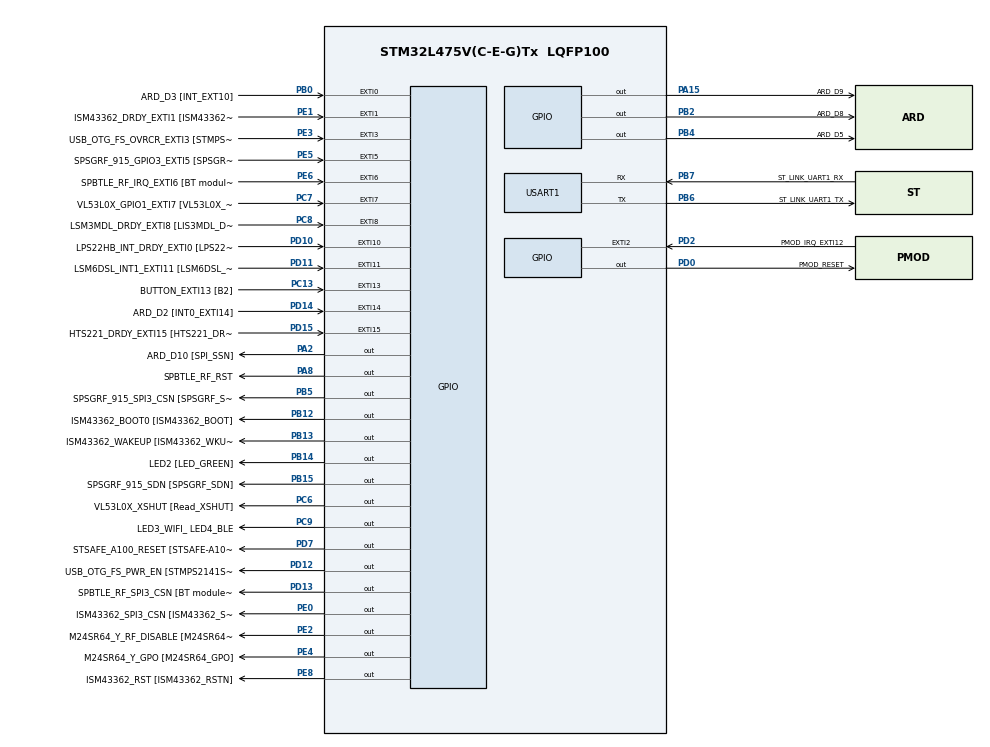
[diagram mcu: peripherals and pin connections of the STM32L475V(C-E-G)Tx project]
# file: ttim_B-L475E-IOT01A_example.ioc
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Mcu.Family=STM32L4
Mcu.Name=STM32L475V(C-E-G)Tx
Mcu.Package=LQFP100
NVIC.EXTI15_10_IRQn=true\:0\:0\:false\:false\:true\:true\:true\:true
NVIC.EXTI9_5_IRQn=true\:0\:0\:false\:false\:true\:true\:true\:true
NVIC.LPTIM1_IRQn=true\:0\:0\:false\:false\:true\:true\:true\:true
NVIC.PriorityGroup=NVIC_PRIORITYGROUP_4
NVIC.USART1_IRQn=true\:0\:0\:false\:false\:true\:true\:true\:true
PA0.GPIO_Label=ARD_D1 [UART4_TX]
PA0.Signal=UART4_TX
PA1.GPIO_Label=ARD_D0 [UART4_RX]
PA1.Signal=UART4_RX
PA10.GPIO_Label=USB_OTG_FS_ID
PA10.Signal=USB_OTG_FS_ID
PA11.GPIO_Label=USB_OTG_FS_DM
PA11.Signal=USB_OTG_FS_DM
PA12.GPIO_Label=USB_OTG_FS_DP
PA12.Signal=USB_OTG_FS_DP
PA13\ (JTMS-SWDIO).GPIO_Label=SYS_JTMS_SWDIO
PA13\ (JTMS-SWDIO).Mode=Serial_Wire
PA13\ (JTMS-SWDIO).Signal=SYS_JTMS-SWDIO
PA14\ (JTCK-SWCLK).GPIO_Label=SYS_JTCK_SWCLK
PA14\ (JTCK-SWCLK).Mode=Serial_Wire
PA14\ (JTCK-SWCLK).Signal=SYS_JTCK-SWCLK
PA15\ (JTDI).GPIO_Label=ARD_D9
PA15\ (JTDI).Signal=GPIO_Output
PA2.GPIO_Label=ARD_D10 [SPI_SSN]
PA2.Signal=GPIO_Output
PA4.GPIO_Label=ARD_D7
PA4.Signal=ADCx_IN9
PA5.GPIO_Label=ARD_D13 [SPI1_SCK]
PA5.Signal=SPI1_SCK
PA6.GPIO_Label=ARD_D12 [SPI1_MISO]
PA6.Signal=SPI1_MISO
PA7.GPIO_Label=ARD_D11 [SPI1_MOSI]
PA7.Signal=SPI1_MOSI
PA8.GPIO_Label=SPBTLE_RF_RST
PA8.Signal=GPIO_Output
PA9.GPIO_Label=USB_OTG_FS_VBUS [STMPS2141STR_OUT]
PA9.Signal=USB_OTG_FS_VBUS
PB0.GPIO_Label=ARD_D3 [INT_EXT10]
PB0.Signal=GPXTI0
PB1.GPIO_Label=ARD_D6 [ADC1_IN6]
PB1.Signal=ADCx_IN16
PB10.GPIO_Label=INTERNAL_I2C2_SCL [VL53L0X_SCL]
PB10.GPIO_Pu=GPIO_PULLUP
PB10.Signal=I2C2_SCL
PB11.GPIO_Label=INTERNAL_I2C2_SDA [VL53L0X_SDA]
PB11.GPIO_Pu=GPIO_PULLUP
PB11.Signal=I2C2_SDA
PB12.GPIO_Label=ISM43362_BOOT0 [ISM43362_BOOT]
PB12.Signal=GPIO_Output
PB13.GPIO_Label=ISM43362_WAKEUP [ISM43362_WKUP]
PB13.Signal=GPIO_Output
PB14.GPIO_Label=LED2 [LED_GREEN]
PB14.Signal=GPIO_Output
PB15.GPIO_Label=SPSGRF_915_SDN [SPSGRF_SDN]
PB15.Signal=GPIO_Output
PB2.GPIO_Label=ARD_D8
PB2.Signal=GPIO_Output
PB3\ (JTDO-TRACESWO).GPIO_Label=SYS_JTD0_SWO
PB3\ (JTDO-TRACESWO).Signal=SYS_JTDO-SWO
PB4\ (NJTRST).GPIO_Label=ARD_D5
PB4\ (NJTRST).Signal=GPIO_Output
PB5.GPIO_Label=SPSGRF_915_SPI3_CSN [SPSGRF_SPI_CS]
PB5.PinState=GPIO_PIN_SET
PB5.Signal=GPIO_Output
PB6.GPIO_Label=ST_LINK_UART1_TX
PB6.Mode=Asynchronous
PB6.Signal=USART1_TX
PB7.GPIO_Label=ST_LINK_UART1_RX
PB7.Mode=Asynchronous
PB7.Signal=USART1_RX
PB8.GPIO_Label=ARD_D15 [I2C1_SCL]
PB8.Signal=I2C1_SCL
PB9.GPIO_Label=ARD_D14 [I2C1_SDA]
PB9.Signal=I2C1_SDA
PC0.GPIO_Label=ARD_A5 [ADC]
PC0.Signal=ADCx_IN1
PC1.GPIO_Label=ARD_A4 [ADC]
PC1.Signal=ADCx_IN2
PC10.GPIO_Label=INTERNAL_SPI3_SCK [BT module_SPI_SCLK] [ISM43362_SCK]
PC10.Signal=SPI3_SCK
PC11.GPIO_Label=INTERNAL_SPI3_MISO [BT module_SPI_MISO] [ISM43362_MISO]
PC11.Signal=SPI3_MISO
PC12.GPIO_Label=INTERNAL_SPI3_MOSI [BT module_SPI_MOSI] [ISM43362_MOSI]
PC12.Signal=SPI3_MOSI
PC13.GPIO_Label=BUTTON_EXTI13 [B2]
PC13.GPIO_ModeDefaultEXTI=GPIO_MODE_IT_FALLING
PC13.Signal=GPXTI13
PC14-OSC32_IN\ (PC14).Mode=LSE-External-Oscillator
PC14-OSC32_IN\ (PC14).Signal=RCC_OSC32_IN
PC15-OSC32_OUT\ (PC15).Mode=LSE-External-Oscillator
PC15-OSC32_OUT\ (PC15).Signal=RCC_OSC32_OUT
PC2.GPIO_Label=ARD_A3 [ADC]
PC2.Signal=ADCx_IN3
PC3.GPIO_Label=ARD_A2 [ADC]
PC3.Signal=ADCx_IN4
PC4.GPIO_Label=ARD_A1 [ADC]
PC4.Signal=ADCx_IN13
PC5.GPIO_Label=ARD_A0 [ADC]
PC5.Signal=ADCx_IN14
PC6.GPIO_Label=VL53L0X_XSHUT [Read_XSHUT]
PC6.Signal=GPIO_Output
PC7.GPIO_Label=VL53L0X_GPIO1_EXTI7 [VL53L0X_GPIO1]
PC7.Signal=GPXTI7
PC8.GPIO_Label=LSM3MDL_DRDY_EXTI8 [LIS3MDL_DRDY]
PC8.Signal=GPXTI8
PC9.GPIO_Label=LED3_WIFI_ LED4_BLE
PC9.Signal=GPIO_Output
PD0.GPIO_Label=PMOD_RESET
PD0.Signal=GPIO_Output
PD1.GPIO_Label=PMOD_SPI2_SCK
PD1.Signal=SPI2_SCK
PD10.GPIO_Label=LPS22HB_INT_DRDY_EXTI0 [LPS22HB_INT_DRDY] 
PD10.Signal=GPXTI10
PD11.GPIO_Label=LSM6DSL_INT1_EXTI11 [LSM6DSL_INT1]
PD11.Signal=GPXTI11
PD12.GPIO_Label=USB_OTG_FS_PWR_EN [STMPS2141STR_EN]
PD12.Signal=GPIO_Output
PD13.GPIO_Label=SPBTLE_RF_SPI3_CSN [BT module_SPI_CS]
PD13.PinState=GPIO_PIN_SET
PD13.Signal=GPIO_Output
PD14.GPIO_Label=ARD_D2 [INT0_EXTI14]
PD14.Signal=GPXTI14
PD15.GPIO_Label=HTS221_DRDY_EXTI15 [HTS221_DRDY]
PD15.Signal=GPXTI15
PD2.GPIO_Label=PMOD_IRQ_EXTI12
PD2.Signal=GPXTI2
PD3.GPIO_Label=PMOD_UART2_CTS
PD3.Signal=USART2_CTS
PD4.GPIO_Label=PMOD_UART2_RTS
PD4.Signal=USART2_RTS
PD5.GPIO_Label=PMOD_UART2_TX
PD5.Signal=USART2_TX
PD6.GPIO_Label=PMOD_UART2_RX
PD6.Signal=USART2_RX
PD7.GPIO_Label=STSAFE_A100_RESET [STSAFE-A100_RESET]
PD7.Signal=GPIO_Output
PD8.GPIO_Label=INTERNAL_UART3_TX [ISM43362_RX]
PD8.Signal=USART3_TX
PD9.GPIO_Label=INTERNAL_UART3_RX [ISM43362_TX]
PD9.Signal=USART3_RX
PE0.GPIO_Label=ISM43362_SPI3_CSN [ISM43362_SSN]
PE0.PinState=GPIO_PIN_SET
PE0.Signal=GPIO_Output
PE1.GPIO_Label=ISM43362_DRDY_EXTI1 [ISM43362_DATARDY]
PE1.Signal=GPXTI1
PE10.GPIO_Label=QUADSPI_CLK [MX25R6435F_SCLK]
PE10.Signal=QUADSPI_CLK
PE11.GPIO_Label=QUADSPI_NCS [MX25R6435F_SCLK]
PE11.Signal=QUADSPI_NCS
PE12.GPIO_Label=OQUADSPI_BK1_IO0 [MX25R6435F_IO0]
PE12.Signal=QUADSPI_BK1_IO0
PE13.GPIO_Label=QUADSPI_BK1_IO1 [MX25R6435F_IO1]
PE13.Signal=QUADSPI_BK1_IO1
PE14.GPIO_Label=QUAD_SPI_BK1_IO2 [MX25R6435F_IO2]
PE14.Signal=QUADSPI_BK1_IO2
PE15.GPIO_Label=QUAD_SPI_BK1_IO3 [MX25R6435F_IO3]
PE15.Signal=QUADSPI_BK1_IO3
PE2.GPIO_Label=M24SR64_Y_RF_DISABLE [M24SR64_RFDIS]
PE2.Signal=GPIO_Output
PE3.GPIO_Label=USB_OTG_FS_OVRCR_EXTI3 [STMPS2141STR_FAULT]
PE3.Signal=GPXTI3
PE4.GPIO_Label=M24SR64_Y_GPO [M24SR64_GPO]
PE4.Signal=GPIO_Output
PE5.GPIO_Label=SPSGRF_915_GPIO3_EXTI5 [SPSGRF_GPIO_3]
PE5.Signal=GPXTI5
PE6.GPIO_Label=SPBTLE_RF_IRQ_EXTI6 [BT module_SPI_IRQ]
PE6.Signal=GPXTI6
PE7.GPIO_Label=DFSDM1_DATIN2 [MP34DT01_DOUT]
PE7.Signal=S_DATAIN2DFSDM1
PE8.GPIO_Label=ISM43362_RST [ISM43362_RSTN]
PE8.Signal=GPIO_Output
PE9.GPIO_Label=DFSDM1_CKOUT [MP34DT01_CLK]
PE9.Signal=S_CKOUTDFSDM1
ProjectManager.HeapSize=0x200
ProjectManager.StackSize=0x400
ProjectManager.TargetToolchain=STM32CubeIDE
RCC.ADCFreq_Value=48000000
RCC.AHBFreq_Value=80000000
RCC.APB1Freq_Value=80000000
RCC.APB1TimFreq_Value=80000000
RCC.APB2Freq_Value=80000000
RCC.APB2TimFreq_Value=80000000
RCC.CortexFreq_Value=80000000
RCC.FLatency-AdvancedSettings=FLASH_LATENCY_0
RCC.HCLKFreq_Value=80000000
RCC.HSE_VALUE=8000000
RCC.HSI_VALUE=16000000
RCC.LPTIM1CLockSelection=RCC_LPTIM1CLKSOURCE_LSE
RCC.MSIAutoCalibration=ENABLED
RCC.MSICalibrationValue=0
RCC.MSI_VALUE=4000000
RCC.PLLN=40
RCC.PLLSAI1N=24
RCC.SYSCLKFreq_VALUE=80000000
RCC.SYSCLKSource=RCC_SYSCLKSOURCE_PLLCLK
RCC.USBFreq_Value=48000000
RCC.VCOOutputFreq_Value=160000000
SH.ADCx_IN1.0=ADC1_IN1
SH.ADCx_IN13.0=ADC1_IN13
SH.ADCx_IN14.0=ADC1_IN14
SH.ADCx_IN16.0=ADC1_IN16
SH.ADCx_IN2.0=ADC1_IN2
SH.ADCx_IN3.0=ADC1_IN3
SH.ADCx_IN4.0=ADC1_IN4
SH.ADCx_IN9.0=ADC1_IN9
SH.S_CKOUTDFSDM1.0=DFSDM1_CKOUT
SH.S_DATAIN2DFSDM1.0=DFSDM1_DATIN2
USART1.VirtualMode-Asynchronous=VM_ASYNC
VP_LPTIM1_VS_LPTIM_counterModeInternalClock.Mode=Counts__internal_clock_event_00
board=B-L475E-IOT01A1

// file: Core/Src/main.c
/* USER CODE BEGIN Header */
/**
 ******************************************************************************
 * @file           : main.c
 * @brief          : Main program body
 ******************************************************************************
 * @attention
 *
 * Copyright (c) 2022 STMicroelectronics.
 * All rights reserved.
 *
 * This software is licensed under terms that can be found in the LICENSE file
 * in the root directory of this software component.
 * If no LICENSE file comes with this software, it is provided AS-IS.
 *
 ******************************************************************************
 */
/* USER CODE END Header */
#include "main.h"

/* USER CODE BEGIN Includes */
#include "bsp.h"
#include "ttim.h"

/* USER CODE END Includes */

LPTIM_HandleTypeDef hlptim1;

UART_HandleTypeDef huart1;

void SystemClock_Config( void );
static void MX_GPIO_Init( void );
static void MX_USART1_UART_Init( void );
static void MX_LPTIM1_Init( void );

/* USER CODE BEGIN 0 */

/**
   @brief Common callback function for all the timers.

   @param hnd
   @param param
 */
void cb_common( TTIM_HND_T hnd, void *param )
{
    /* note that the time in ms is taken from the systick source that is out of synch
    With the 32768 hz cristal clock source, so the time logging will drift. */
    log_debug( "%05u %s\n", HAL_GetTick(), param );
}

void cb_with_start( TTIM_HND_T hnd, void *param )
{
    cb_common( hnd, param );

    /* restarts the timer */
    ttim_start( hnd );
}

/* USER CODE END 0 */

int main( void )
{

    /* MCU Configuration--------------------------------------------------------*/

    /* Reset of all peripherals, Initializes the Flash interface and the Systick. */
    HAL_Init();

    /* Configure the system clock */
    SystemClock_Config();

    /* Initialize all configured peripherals */
    MX_GPIO_Init();
    MX_USART1_UART_Init();
    MX_LPTIM1_Init();
    /* USER CODE BEGIN 2 */
    /* initializes the ttim library */
    ttim_init();

    /* time in miliseconds */
    ttim_set( 0, 1000, cb_common, "tim 0" );
    ttim_set( 1, 2000, cb_common, "tim 1" );
    ttim_set( 2, 5000, cb_with_start, "tim 2" );
    ttim_set( 3, 10000, cb_with_start, "tim 3" );

    ttim_set_periodic( 0 );
    ttim_set_periodic( 1 );

    ttim_start( 0 );
    ttim_start( 1 );
    ttim_start( 2 );
    ttim_start( 3 );
    log_debug( "start 3\n" );
    /* USER CODE END 2 */

    /* Infinite loop */
    while ( 1 )
    {

    }
}

void SystemClock_Config( void )
{
    RCC_OscInitTypeDef RCC_OscInitStruct = {0};
    RCC_ClkInitTypeDef RCC_ClkInitStruct = {0};

    /** Configure the main internal regulator output voltage
    */
    if ( HAL_PWREx_ControlVoltageScaling( PWR_REGULATOR_VOLTAGE_SCALE1 ) != HAL_OK )
    {
        Error_Handler();
    }

    /** Configure LSE Drive Capability
    */
    HAL_PWR_EnableBkUpAccess();
    __HAL_RCC_LSEDRIVE_CONFIG( RCC_LSEDRIVE_LOW );

    /** Initializes the RCC Oscillators according to the specified parameters
    * in the RCC_OscInitTypeDef structure.
    */
    RCC_OscInitStruct.OscillatorType = RCC_OSCILLATORTYPE_LSE|RCC_OSCILLATORTYPE_MSI;
    RCC_OscInitStruct.LSEState = RCC_LSE_ON;
    RCC_OscInitStruct.MSIState = RCC_MSI_ON;
    RCC_OscInitStruct.MSICalibrationValue = 0;
    RCC_OscInitStruct.MSIClockRange = RCC_MSIRANGE_6;
    RCC_OscInitStruct.PLL.PLLState = RCC_PLL_ON;
    RCC_OscInitStruct.PLL.PLLSource = RCC_PLLSOURCE_MSI;
    RCC_OscInitStruct.PLL.PLLM = 1;
    RCC_OscInitStruct.PLL.PLLN = 40;
    RCC_OscInitStruct.PLL.PLLP = RCC_PLLP_DIV7;
    RCC_OscInitStruct.PLL.PLLQ = RCC_PLLQ_DIV2;
    RCC_OscInitStruct.PLL.PLLR = RCC_PLLR_DIV2;
    if ( HAL_RCC_OscConfig( &RCC_OscInitStruct ) != HAL_OK )
    {
        Error_Handler();
    }

    /** Initializes the CPU, AHB and APB buses clocks
    */
    RCC_ClkInitStruct.ClockType = RCC_CLOCKTYPE_HCLK|RCC_CLOCKTYPE_SYSCLK
                                  |RCC_CLOCKTYPE_PCLK1|RCC_CLOCKTYPE_PCLK2;
    RCC_ClkInitStruct.SYSCLKSource = RCC_SYSCLKSOURCE_PLLCLK;
    RCC_ClkInitStruct.AHBCLKDivider = RCC_SYSCLK_DIV1;
    RCC_ClkInitStruct.APB1CLKDivider = RCC_HCLK_DIV1;
    RCC_ClkInitStruct.APB2CLKDivider = RCC_HCLK_DIV1;

    if ( HAL_RCC_ClockConfig( &RCC_ClkInitStruct, FLASH_LATENCY_4 ) != HAL_OK )
    {
        Error_Handler();
    }

    /** Enable MSI Auto calibration
    */
    HAL_RCCEx_EnableMSIPLLMode();
}

static void MX_LPTIM1_Init( void )
{

    hlptim1.Instance = LPTIM1;
    hlptim1.Init.Clock.Source = LPTIM_CLOCKSOURCE_APBCLOCK_LPOSC;
    hlptim1.Init.Clock.Prescaler = LPTIM_FIXED_PRESCALER;
    hlptim1.Init.Trigger.Source = LPTIM_TRIGSOURCE_SOFTWARE;
    hlptim1.Init.OutputPolarity = LPTIM_OUTPUTPOLARITY_HIGH;
    hlptim1.Init.UpdateMode = LPTIM_UPDATE_IMMEDIATE;
    hlptim1.Init.CounterSource = LPTIM_COUNTERSOURCE_INTERNAL;
    hlptim1.Init.Input1Source = LPTIM_INPUT1SOURCE_GPIO;
    hlptim1.Init.Input2Source = LPTIM_INPUT2SOURCE_GPIO;
    if ( HAL_LPTIM_Init( &hlptim1 ) != HAL_OK )
    {
        Error_Handler();
    }

}

static void MX_USART1_UART_Init( void )
{

    huart1.Instance = USART1;
    huart1.Init.BaudRate = 115200;
    huart1.Init.WordLength = UART_WORDLENGTH_8B;
    huart1.Init.StopBits = UART_STOPBITS_1;
    huart1.Init.Parity = UART_PARITY_NONE;
    huart1.Init.Mode = UART_MODE_TX_RX;
    huart1.Init.HwFlowCtl = UART_HWCONTROL_NONE;
    huart1.Init.OverSampling = UART_OVERSAMPLING_16;
    huart1.Init.OneBitSampling = UART_ONE_BIT_SAMPLE_DISABLE;
    huart1.AdvancedInit.AdvFeatureInit = UART_ADVFEATURE_NO_INIT;
    if ( HAL_UART_Init( &huart1 ) != HAL_OK )
    {
        Error_Handler();
    }

}

static void MX_GPIO_Init( void )
{
    GPIO_InitTypeDef GPIO_InitStruct = {0};

    /* GPIO Ports Clock Enable */
    __HAL_RCC_GPIOE_CLK_ENABLE();
    __HAL_RCC_GPIOC_CLK_ENABLE();
    __HAL_RCC_GPIOA_CLK_ENABLE();
    __HAL_RCC_GPIOB_CLK_ENABLE();
    __HAL_RCC_GPIOD_CLK_ENABLE();

    /*Configure GPIO pin Output Level */
    HAL_GPIO_WritePin( GPIOE, M24SR64_Y_RF_DISABLE_Pin|M24SR64_Y_GPO_Pin|ISM43362_RST_Pin, GPIO_PIN_RESET );

    /*Configure GPIO pin Output Level */
    HAL_GPIO_WritePin( GPIOA, ARD_D10_Pin|SPBTLE_RF_RST_Pin|ARD_D9_Pin, GPIO_PIN_RESET );

    /*Configure GPIO pin Output Level */
    HAL_GPIO_WritePin( GPIOB, ARD_D8_Pin|ISM43362_BOOT0_Pin|ISM43362_WAKEUP_Pin|LED2_Pin
                       |SPSGRF_915_SDN_Pin|ARD_D5_Pin, GPIO_PIN_RESET );

    /*Configure GPIO pin Output Level */
    HAL_GPIO_WritePin( GPIOD, USB_OTG_FS_PWR_EN_Pin|PMOD_RESET_Pin|STSAFE_A100_RESET_Pin, GPIO_PIN_RESET );

    /*Configure GPIO pin Output Level */
    HAL_GPIO_WritePin( SPBTLE_RF_SPI3_CSN_GPIO_Port, SPBTLE_RF_SPI3_CSN_Pin, GPIO_PIN_SET );

    /*Configure GPIO pin Output Level */
    HAL_GPIO_WritePin( GPIOC, VL53L0X_XSHUT_Pin|LED3_WIFI__LED4_BLE_Pin, GPIO_PIN_RESET );

    /*Configure GPIO pin Output Level */
    HAL_GPIO_WritePin( SPSGRF_915_SPI3_CSN_GPIO_Port, SPSGRF_915_SPI3_CSN_Pin, GPIO_PIN_SET );

    /*Configure GPIO pin Output Level */
    HAL_GPIO_WritePin( ISM43362_SPI3_CSN_GPIO_Port, ISM43362_SPI3_CSN_Pin, GPIO_PIN_SET );

    /*Configure GPIO pins : M24SR64_Y_RF_DISABLE_Pin M24SR64_Y_GPO_Pin ISM43362_RST_Pin ISM43362_SPI3_CSN_Pin */
    GPIO_InitStruct.Pin = M24SR64_Y_RF_DISABLE_Pin|M24SR64_Y_GPO_Pin|ISM43362_RST_Pin|ISM43362_SPI3_CSN_Pin;
    GPIO_InitStruct.Mode = GPIO_MODE_OUTPUT_PP;
    GPIO_InitStruct.Pull = GPIO_NOPULL;
    GPIO_InitStruct.Speed = GPIO_SPEED_FREQ_LOW;
    HAL_GPIO_Init( GPIOE, &GPIO_InitStruct );

    /*Configure GPIO pins : USB_OTG_FS_OVRCR_EXTI3_Pin SPSGRF_915_GPIO3_EXTI5_Pin SPBTLE_RF_IRQ_EXTI6_Pin ISM43362_DRDY_EXTI1_Pin */
    GPIO_InitStruct.Pin = USB_OTG_FS_OVRCR_EXTI3_Pin|SPSGRF_915_GPIO3_EXTI5_Pin|SPBTLE_RF_IRQ_EXTI6_Pin|ISM43362_DRDY_EXTI1_Pin;
    GPIO_InitStruct.Mode = GPIO_MODE_IT_RISING;
    GPIO_InitStruct.Pull = GPIO_NOPULL;
    HAL_GPIO_Init( GPIOE, &GPIO_InitStruct );

    /*Configure GPIO pin : BUTTON_EXTI13_Pin */
    GPIO_InitStruct.Pin = BUTTON_EXTI13_Pin;
    GPIO_InitStruct.Mode = GPIO_MODE_IT_FALLING;
    GPIO_InitStruct.Pull = GPIO_NOPULL;
    HAL_GPIO_Init( BUTTON_EXTI13_GPIO_Port, &GPIO_InitStruct );

    /*Configure GPIO pins : ARD_A5_Pin ARD_A4_Pin ARD_A3_Pin ARD_A2_Pin
                             ARD_A1_Pin ARD_A0_Pin */
    GPIO_InitStruct.Pin = ARD_A5_Pin|ARD_A4_Pin|ARD_A3_Pin|ARD_A2_Pin
                          |ARD_A1_Pin|ARD_A0_Pin;
    GPIO_InitStruct.Mode = GPIO_MODE_ANALOG_ADC_CONTROL;
    GPIO_InitStruct.Pull = GPIO_NOPULL;
    HAL_GPIO_Init( GPIOC, &GPIO_InitStruct );

    /*Configure GPIO pins : ARD_D1_Pin ARD_D0_Pin */
    GPIO_InitStruct.Pin = ARD_D1_Pin|ARD_D0_Pin;
    GPIO_InitStruct.Mode = GPIO_MODE_AF_PP;
    GPIO_InitStruct.Pull = GPIO_NOPULL;
    GPIO_InitStruct.Speed = GPIO_SPEED_FREQ_VERY_HIGH;
    GPIO_InitStruct.Alternate = GPIO_AF8_UART4;
    HAL_GPIO_Init( GPIOA, &GPIO_InitStruct );

    /*Configure GPIO pins : ARD_D10_Pin SPBTLE_RF_RST_Pin ARD_D9_Pin */
    GPIO_InitStruct.Pin = ARD_D10_Pin|SPBTLE_RF_RST_Pin|ARD_D9_Pin;
    GPIO_InitStruct.Mode = GPIO_MODE_OUTPUT_PP;
    GPIO_InitStruct.Pull = GPIO_NOPULL;
    GPIO_InitStruct.Speed = GPIO_SPEED_FREQ_LOW;
    HAL_GPIO_Init( GPIOA, &GPIO_InitStruct );

    /*Configure GPIO pin : ARD_D7_Pin */
    GPIO_InitStruct.Pin = ARD_D7_Pin;
    GPIO_InitStruct.Mode = GPIO_MODE_ANALOG_ADC_CONTROL;
    GPIO_InitStruct.Pull = GPIO_NOPULL;
    HAL_GPIO_Init( ARD_D7_GPIO_Port, &GPIO_InitStruct );

    /*Configure GPIO pins : ARD_D13_Pin ARD_D12_Pin ARD_D11_Pin */
    GPIO_InitStruct.Pin = ARD_D13_Pin|ARD_D12_Pin|ARD_D11_Pin;
    GPIO_InitStruct.Mode = GPIO_MODE_AF_PP;
    GPIO_InitStruct.Pull = GPIO_NOPULL;
    GPIO_InitStruct.Speed = GPIO_SPEED_FREQ_VERY_HIGH;
    GPIO_InitStruct.Alternate = GPIO_AF5_SPI1;
    HAL_GPIO_Init( GPIOA, &GPIO_InitStruct );

    /*Configure GPIO pin : ARD_D3_Pin */
    GPIO_InitStruct.Pin = ARD_D3_Pin;
    GPIO_InitStruct.Mode = GPIO_MODE_IT_RISING;
    GPIO_InitStruct.Pull = GPIO_NOPULL;
    HAL_GPIO_Init( ARD_D3_GPIO_Port, &GPIO_InitStruct );

    /*Configure GPIO pin : ARD_D6_Pin */
    GPIO_InitStruct.Pin = ARD_D6_Pin;
    GPIO_InitStruct.Mode = GPIO_MODE_ANALOG_ADC_CONTROL;
    GPIO_InitStruct.Pull = GPIO_NOPULL;
    HAL_GPIO_Init( ARD_D6_GPIO_Port, &GPIO_InitStruct );

    /*Configure GPIO pins : ARD_D8_Pin ISM43362_BOOT0_Pin ISM43362_WAKEUP_Pin LED2_Pin
                             SPSGRF_915_SDN_Pin ARD_D5_Pin SPSGRF_915_SPI3_CSN_Pin */
    GPIO_InitStruct.Pin = ARD_D8_Pin|ISM43362_BOOT0_Pin|ISM43362_WAKEUP_Pin|LED2_Pin
                          |SPSGRF_915_SDN_Pin|ARD_D5_Pin|SPSGRF_915_SPI3_CSN_Pin;
    GPIO_InitStruct.Mode = GPIO_MODE_OUTPUT_PP;
    GPIO_InitStruct.Pull = GPIO_NOPULL;
    GPIO_InitStruct.Speed = GPIO_SPEED_FREQ_LOW;
    HAL_GPIO_Init( GPIOB, &GPIO_InitStruct );

    /*Configure GPIO pins : DFSDM1_DATIN2_Pin DFSDM1_CKOUT_Pin */
    GPIO_InitStruct.Pin = DFSDM1_DATIN2_Pin|DFSDM1_CKOUT_Pin;
    GPIO_InitStruct.Mode = GPIO_MODE_AF_PP;
    GPIO_InitStruct.Pull = GPIO_NOPULL;
    GPIO_InitStruct.Speed = GPIO_SPEED_FREQ_LOW;
    GPIO_InitStruct.Alternate = GPIO_AF6_DFSDM1;
    HAL_GPIO_Init( GPIOE, &GPIO_InitStruct );

    /*Configure GPIO pins : QUADSPI_CLK_Pin QUADSPI_NCS_Pin OQUADSPI_BK1_IO0_Pin QUADSPI_BK1_IO1_Pin
                             QUAD_SPI_BK1_IO2_Pin QUAD_SPI_BK1_IO3_Pin */
    GPIO_InitStruct.Pin = QUADSPI_CLK_Pin|QUADSPI_NCS_Pin|OQUADSPI_BK1_IO0_Pin|QUADSPI_BK1_IO1_Pin
                          |QUAD_SPI_BK1_IO2_Pin|QUAD_SPI_BK1_IO3_Pin;
    GPIO_InitStruct.Mode = GPIO_MODE_AF_PP;
    GPIO_InitStruct.Pull = GPIO_NOPULL;
    GPIO_InitStruct.Speed = GPIO_SPEED_FREQ_VERY_HIGH;
    GPIO_InitStruct.Alternate = GPIO_AF10_QUADSPI;
    HAL_GPIO_Init( GPIOE, &GPIO_InitStruct );

    /*Configure GPIO pins : INTERNAL_I2C2_SCL_Pin INTERNAL_I2C2_SDA_Pin */
    GPIO_InitStruct.Pin = INTERNAL_I2C2_SCL_Pin|INTERNAL_I2C2_SDA_Pin;
    GPIO_InitStruct.Mode = GPIO_MODE_AF_OD;
    GPIO_InitStruct.Pull = GPIO_PULLUP;
    GPIO_InitStruct.Speed = GPIO_SPEED_FREQ_VERY_HIGH;
    GPIO_InitStruct.Alternate = GPIO_AF4_I2C2;
    HAL_GPIO_Init( GPIOB, &GPIO_InitStruct );

    /*Configure GPIO pins : INTERNAL_UART3_TX_Pin INTERNAL_UART3_RX_Pin */
    GPIO_InitStruct.Pin = INTERNAL_UART3_TX_Pin|INTERNAL_UART3_RX_Pin;
    GPIO_InitStruct.Mode = GPIO_MODE_AF_PP;
    GPIO_InitStruct.Pull = GPIO_NOPULL;
    GPIO_InitStruct.Speed = GPIO_SPEED_FREQ_VERY_HIGH;
    GPIO_InitStruct.Alternate = GPIO_AF7_USART3;
    HAL_GPIO_Init( GPIOD, &GPIO_InitStruct );

    /*Configure GPIO pins : LPS22HB_INT_DRDY_EXTI0_Pin LSM6DSL_INT1_EXTI11_Pin ARD_D2_Pin HTS221_DRDY_EXTI15_Pin
                             PMOD_IRQ_EXTI12_Pin */
    GPIO_InitStruct.Pin = LPS22HB_INT_DRDY_EXTI0_Pin|LSM6DSL_INT1_EXTI11_Pin|ARD_D2_Pin|HTS221_DRDY_EXTI15_Pin
                          |PMOD_IRQ_EXTI12_Pin;
    GPIO_InitStruct.Mode = GPIO_MODE_IT_RISING;
    GPIO_InitStruct.Pull = GPIO_NOPULL;
    HAL_GPIO_Init( GPIOD, &GPIO_InitStruct );

    /*Configure GPIO pins : USB_OTG_FS_PWR_EN_Pin SPBTLE_RF_SPI3_CSN_Pin PMOD_RESET_Pin STSAFE_A100_RESET_Pin */
    GPIO_InitStruct.Pin = USB_OTG_FS_PWR_EN_Pin|SPBTLE_RF_SPI3_CSN_Pin|PMOD_RESET_Pin|STSAFE_A100_RESET_Pin;
    GPIO_InitStruct.Mode = GPIO_MODE_OUTPUT_PP;
    GPIO_InitStruct.Pull = GPIO_NOPULL;
    GPIO_InitStruct.Speed = GPIO_SPEED_FREQ_LOW;
    HAL_GPIO_Init( GPIOD, &GPIO_InitStruct );

    /*Configure GPIO pins : VL53L0X_XSHUT_Pin LED3_WIFI__LED4_BLE_Pin */
    GPIO_InitStruct.Pin = VL53L0X_XSHUT_Pin|LED3_WIFI__LED4_BLE_Pin;
    GPIO_InitStruct.Mode = GPIO_MODE_OUTPUT_PP;
    GPIO_InitStruct.Pull = GPIO_NOPULL;
    GPIO_InitStruct.Speed = GPIO_SPEED_FREQ_LOW;
    HAL_GPIO_Init( GPIOC, &GPIO_InitStruct );

    /*Configure GPIO pins : VL53L0X_GPIO1_EXTI7_Pin LSM3MDL_DRDY_EXTI8_Pin */
    GPIO_InitStruct.Pin = VL53L0X_GPIO1_EXTI7_Pin|LSM3MDL_DRDY_EXTI8_Pin;
    GPIO_InitStruct.Mode = GPIO_MODE_IT_RISING;
    GPIO_InitStruct.Pull = GPIO_NOPULL;
    HAL_GPIO_Init( GPIOC, &GPIO_InitStruct );

    /*Configure GPIO pin : USB_OTG_FS_VBUS_Pin */
    GPIO_InitStruct.Pin = USB_OTG_FS_VBUS_Pin;
    GPIO_InitStruct.Mode = GPIO_MODE_INPUT;
    GPIO_InitStruct.Pull = GPIO_NOPULL;
    HAL_GPIO_Init( USB_OTG_FS_VBUS_GPIO_Port, &GPIO_InitStruct );

    /*Configure GPIO pins : USB_OTG_FS_ID_Pin USB_OTG_FS_DM_Pin USB_OTG_FS_DP_Pin */
    GPIO_InitStruct.Pin = USB_OTG_FS_ID_Pin|USB_OTG_FS_DM_Pin|USB_OTG_FS_DP_Pin;
    GPIO_InitStruct.Mode = GPIO_MODE_AF_PP;
    GPIO_InitStruct.Pull = GPIO_NOPULL;
    GPIO_InitStruct.Speed = GPIO_SPEED_FREQ_VERY_HIGH;
    GPIO_InitStruct.Alternate = GPIO_AF10_OTG_FS;
    HAL_GPIO_Init( GPIOA, &GPIO_InitStruct );

    /*Configure GPIO pins : INTERNAL_SPI3_SCK_Pin INTERNAL_SPI3_MISO_Pin INTERNAL_SPI3_MOSI_Pin */
    GPIO_InitStruct.Pin = INTERNAL_SPI3_SCK_Pin|INTERNAL_SPI3_MISO_Pin|INTERNAL_SPI3_MOSI_Pin;
    GPIO_InitStruct.Mode = GPIO_MODE_AF_PP;
    GPIO_InitStruct.Pull = GPIO_NOPULL;
    GPIO_InitStruct.Speed = GPIO_SPEED_FREQ_VERY_HIGH;
    GPIO_InitStruct.Alternate = GPIO_AF6_SPI3;
    HAL_GPIO_Init( GPIOC, &GPIO_InitStruct );

    /*Configure GPIO pin : PMOD_SPI2_SCK_Pin */
    GPIO_InitStruct.Pin = PMOD_SPI2_SCK_Pin;
    GPIO_InitStruct.Mode = GPIO_MODE_AF_PP;
    GPIO_InitStruct.Pull = GPIO_NOPULL;
    GPIO_InitStruct.Speed = GPIO_SPEED_FREQ_VERY_HIGH;
    GPIO_InitStruct.Alternate = GPIO_AF5_SPI2;
    HAL_GPIO_Init( PMOD_SPI2_SCK_GPIO_Port, &GPIO_InitStruct );

    /*Configure GPIO pins : PMOD_UART2_CTS_Pin PMOD_UART2_RTS_Pin PMOD_UART2_TX_Pin PMOD_UART2_RX_Pin */
    GPIO_InitStruct.Pin = PMOD_UART2_CTS_Pin|PMOD_UART2_RTS_Pin|PMOD_UART2_TX_Pin|PMOD_UART2_RX_Pin;
    GPIO_InitStruct.Mode = GPIO_MODE_AF_PP;
    GPIO_InitStruct.Pull = GPIO_NOPULL;
    GPIO_InitStruct.Speed = GPIO_SPEED_FREQ_VERY_HIGH;
    GPIO_InitStruct.Alternate = GPIO_AF7_USART2;
    HAL_GPIO_Init( GPIOD, &GPIO_InitStruct );

    /*Configure GPIO pins : ARD_D15_Pin ARD_D14_Pin */
    GPIO_InitStruct.Pin = ARD_D15_Pin|ARD_D14_Pin;
    GPIO_InitStruct.Mode = GPIO_MODE_AF_OD;
    GPIO_InitStruct.Pull = GPIO_NOPULL;
    GPIO_InitStruct.Speed = GPIO_SPEED_FREQ_VERY_HIGH;
    GPIO_InitStruct.Alternate = GPIO_AF4_I2C1;
    HAL_GPIO_Init( GPIOB, &GPIO_InitStruct );

    /* EXTI interrupt init*/
    HAL_NVIC_SetPriority( EXTI9_5_IRQn, 0, 0 );
    HAL_NVIC_EnableIRQ( EXTI9_5_IRQn );

    HAL_NVIC_SetPriority( EXTI15_10_IRQn, 0, 0 );
    HAL_NVIC_EnableIRQ( EXTI15_10_IRQn );

}

void Error_Handler( void )
{
    __disable_irq();
    while ( 1 )
    {
    }
}
